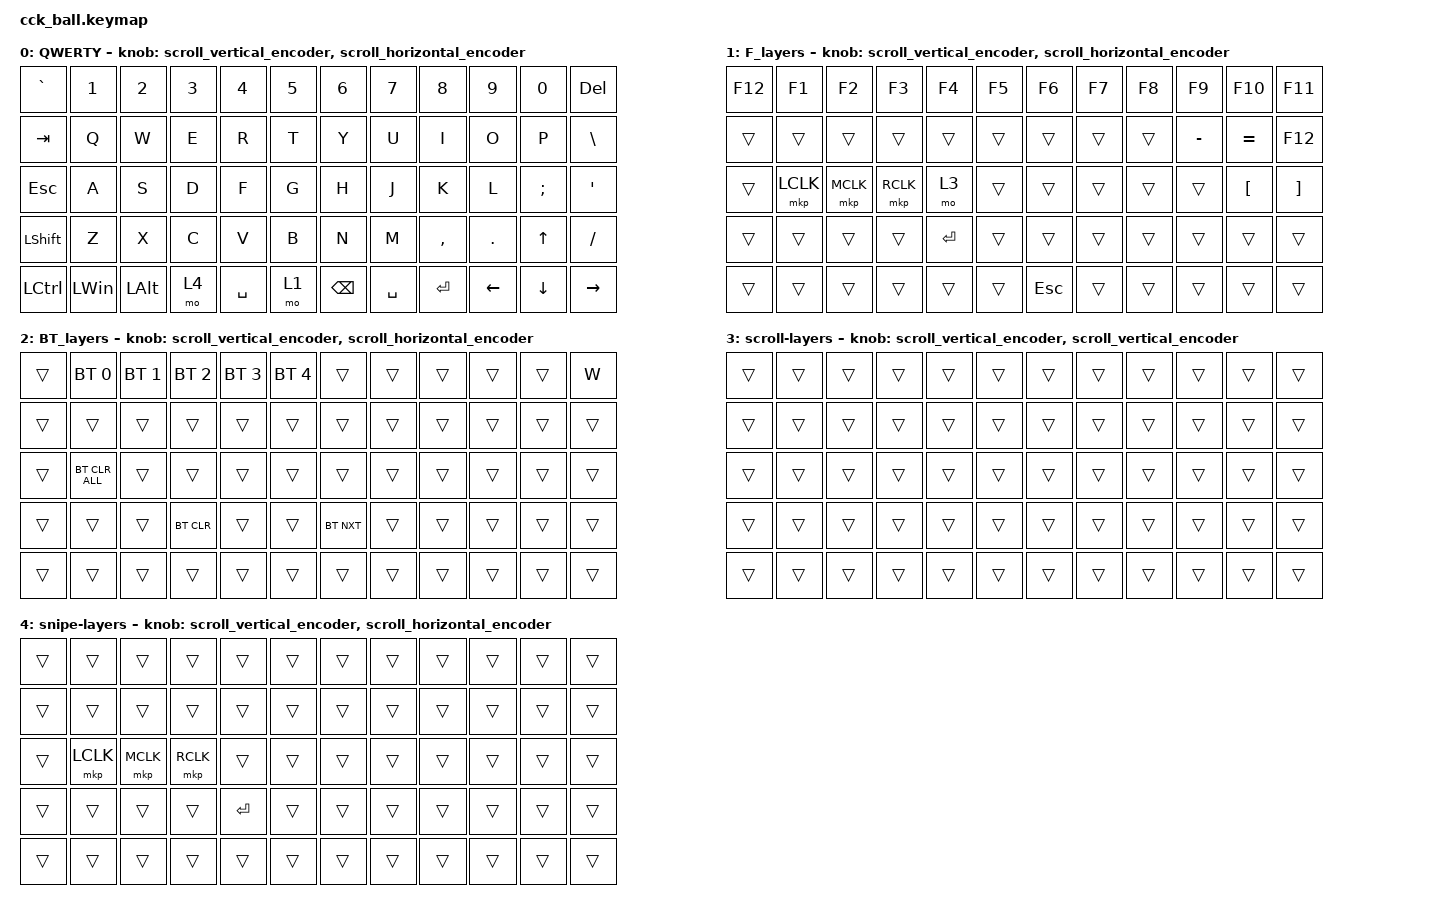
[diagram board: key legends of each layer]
#define ZMK_POINTING_DEFAULT_MOVE_VAL 1000 // 600
#define ZMK_POINTING_DEFAULT_SCRL_VAL 12   // 10

#include <input/processors.dtsi>
#include <zephyr/dt-bindings/input/input-event-codes.h>
#include <behaviors.dtsi>
#include <dt-bindings/zmk/bt.h>
#include <dt-bindings/zmk/keys.h>
#include <dt-bindings/zmk/pointing.h>

&mmv_input_listener { input-processors = <&zip_xy_scaler 2 1>; };

&msc_input_listener { input-processors = <&zip_scroll_scaler 2 1>; };

&msc {
    acceleration-exponent = <0>;      // 0
    time-to-max-speed-ms = <300>;       // 300
    delay-ms = <0>;                   // 0
};

&mmv {
    time-to-max-speed-ms = <500>;
    acceleration-exponent = <1>;
    trigger-period-ms = <16>;
};

&soft_off { hold-time-ms = <2000>; };

/ {
    // 上下滚动编码器行为

    scroll_vertical_encoder: scroll_vertical_encoder {
        compatible = "zmk,behavior-sensor-rotate";
        #sensor-binding-cells = <0>;
        bindings = <&msc SCRL_DOWN>, <&msc SCRL_UP>;

        tap-ms = <100>;
    };

    // 左右滚动编码器行为

    scroll_horizontal_encoder: scroll_horizontal_encoder {
        compatible = "zmk,behavior-sensor-rotate";
        #sensor-binding-cells = <0>;
        bindings = <&msc SCRL_LEFT>, <&msc SCRL_RIGHT>;

        tap-ms = <100>;
    };

    behaviors {
    };

    keymap {
        compatible = "zmk,keymap";

        QWERTY {
            bindings = <
&kp GRAVE         &kp N1        &kp N2        &kp N3  &kp N4     &kp N5  &kp N6         &kp N7     &kp N8     &kp N9          &kp N0          &kp DELETE
&kp TAB           &kp Q         &kp W         &kp E   &kp R      &kp T   &kp Y          &kp U      &kp I      &kp O           &kp P           &kp BSLH
&kp ESCAPE        &kp A         &kp S         &kp D   &kp F      &kp G   &kp H          &kp J      &kp K      &kp L           &kp SEMI        &kp SQT
&kp LEFT_SHIFT    &kp Z         &kp X         &kp C   &kp V      &kp B   &kp N          &kp M      &kp COMMA  &kp DOT         &kp UP_ARROW    &kp FSLH
&kp LEFT_CONTROL  &kp LEFT_WIN  &kp LEFT_ALT  &mo 4   &kp SPACE  &mo 1   &kp BACKSPACE  &kp SPACE  &kp ENTER  &kp LEFT_ARROW  &kp DOWN_ARROW  &kp RIGHT_ARROW
            >;

            sensor-bindings =
                <&scroll_vertical_encoder>,
                <&scroll_horizontal_encoder>;
        };

        F_layers {
            bindings = <
&kp F12  &kp F1     &kp F2     &kp F3     &kp F4   &kp F5  &kp F6      &kp F7  &kp F8  &kp F9     &kp F10           &kp F11
&trans   &trans     &trans     &trans     &trans   &trans  &trans      &trans  &trans  &kp MINUS  &kp EQUAL         &kp F12
&trans   &mkp LCLK  &mkp MCLK  &mkp RCLK  &mo 3    &trans  &trans      &trans  &trans  &trans     &kp LEFT_BRACKET  &kp RIGHT_BRACKET
&trans   &trans     &trans     &trans     &kp RET  &trans  &trans      &trans  &trans  &trans     &trans            &trans
&trans   &trans     &trans     &trans     &trans   &trans  &kp ESCAPE  &trans  &trans  &trans     &trans            &trans
            >;

            sensor-bindings =
                <&scroll_vertical_encoder>,
                <&scroll_horizontal_encoder>;
        };

        BT_layers {
            bindings = <
&trans  &bt BT_SEL 0    &bt BT_SEL 1  &bt BT_SEL 2  &bt BT_SEL 3  &bt BT_SEL 4  &trans      &trans  &trans  &trans  &trans  &kp W
&trans  &trans          &trans        &trans        &trans        &trans        &trans      &trans  &trans  &trans  &trans  &trans
&trans  &bt BT_CLR_ALL  &trans        &trans        &trans        &trans        &trans      &trans  &trans  &trans  &trans  &trans
&trans  &trans          &trans        &bt BT_CLR    &trans        &trans        &bt BT_NXT  &trans  &trans  &trans  &trans  &trans
&trans  &trans          &trans        &trans        &trans        &trans        &trans      &trans  &trans  &trans  &trans  &trans
            >;

            sensor-bindings =
                <&scroll_vertical_encoder>,
                <&scroll_horizontal_encoder>;
        };

        scroll-layers {
            bindings = <
&trans  &trans  &trans  &trans  &trans  &trans  &trans  &trans  &trans  &trans  &trans  &trans
&trans  &trans  &trans  &trans  &trans  &trans  &trans  &trans  &trans  &trans  &trans  &trans
&trans  &trans  &trans  &trans  &trans  &trans  &trans  &trans  &trans  &trans  &trans  &trans
&trans  &trans  &trans  &trans  &trans  &trans  &trans  &trans  &trans  &trans  &trans  &trans
&trans  &trans  &trans  &trans  &trans  &trans  &trans  &trans  &trans  &trans  &trans  &trans
            >;

            sensor-bindings =
                <&scroll_vertical_encoder>,
                <&scroll_vertical_encoder>;
        };

        snipe-layers {
            bindings = <
&trans  &trans     &trans     &trans     &trans   &trans  &trans  &trans  &trans  &trans  &trans  &trans
&trans  &trans     &trans     &trans     &trans   &trans  &trans  &trans  &trans  &trans  &trans  &trans
&trans  &mkp LCLK  &mkp MCLK  &mkp RCLK  &trans   &trans  &trans  &trans  &trans  &trans  &trans  &trans
&trans  &trans     &trans     &trans     &kp RET  &trans  &trans  &trans  &trans  &trans  &trans  &trans
&trans  &trans     &trans     &trans     &trans   &trans  &trans  &trans  &trans  &trans  &trans  &trans
            >;

            sensor-bindings =
                <&scroll_vertical_encoder>,
                // 编码器1：上下滚动,,,,,,
                <&scroll_horizontal_encoder>;

            // 编码器2：左右滚动
        };
    };
};
